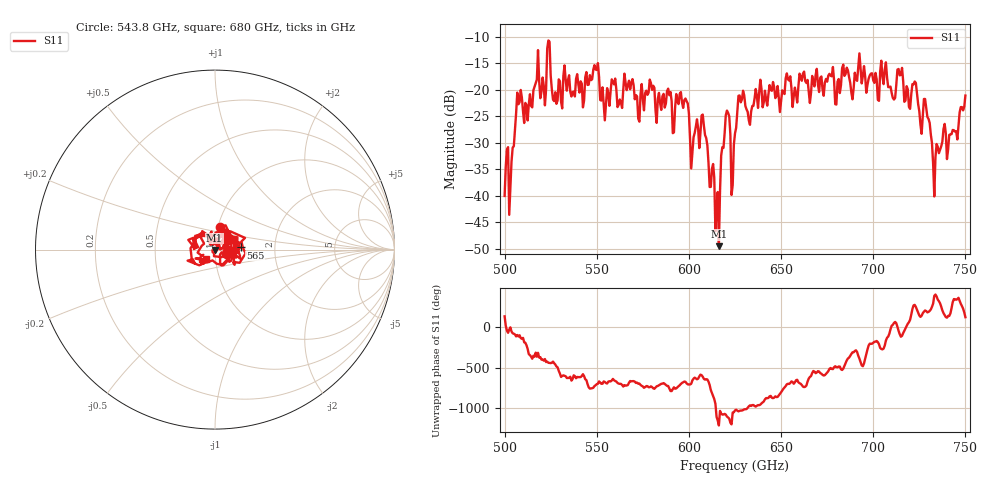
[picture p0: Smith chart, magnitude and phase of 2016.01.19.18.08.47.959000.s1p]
!Created with skrf (http://scikit-rf.org).
# GHz S RI R 50.0
!freq ReS11 ImS11
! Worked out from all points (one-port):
!   401 points, 500 GHz to 750 GHz, reference 50 ohm
!   lowest |S11| = -49.5 dB at 616.2 GHz (marker M1), VSWR 1.01, Z = 49.8 - j0.249 ohm
!   |S11| at or under -10 dB: start of sweep to end of sweep
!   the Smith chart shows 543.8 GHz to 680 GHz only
!   S11 on the Smith chart (normalised r, x): 543.8 GHz: 1.03, +0.27; 565 GHz: 1.33, +0.03; 680 GHz: 0.90, -0.10
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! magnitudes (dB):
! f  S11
! 500 GHz  -40.1
! 503.8 GHz  -33.5
! 508.1 GHz  -22.3
! 520.6 GHz  -17.7
! 523.8 GHz  -10.6
! 526.9 GHz  -22.1
! 531.2 GHz  -23.5
! 543.8 GHz  -17.6
! 549.4 GHz  -16.1
! 562.5 GHz  -21.8
! 565 GHz  -16.9
! 593.8 GHz  -22.2
! 598.8 GHz  -22.1
! 601.9 GHz  -31.8
! 608.1 GHz  -26.8
! 616.2 GHz  -49.5
! 620.6 GHz  -23.9
! 623.8 GHz  -38.0
! 625 GHz  -28.2
! 628.1 GHz  -22.3
! 656.2 GHz  -23.2
! 680 GHz  -22.8
! 687.5 GHz  -18.6
! 714.4 GHz  -17.2
! 718.8 GHz  -19.9
! 728.8 GHz  -23.4
! 733.8 GHz  -32.8
! 750 GHz  -21.1
